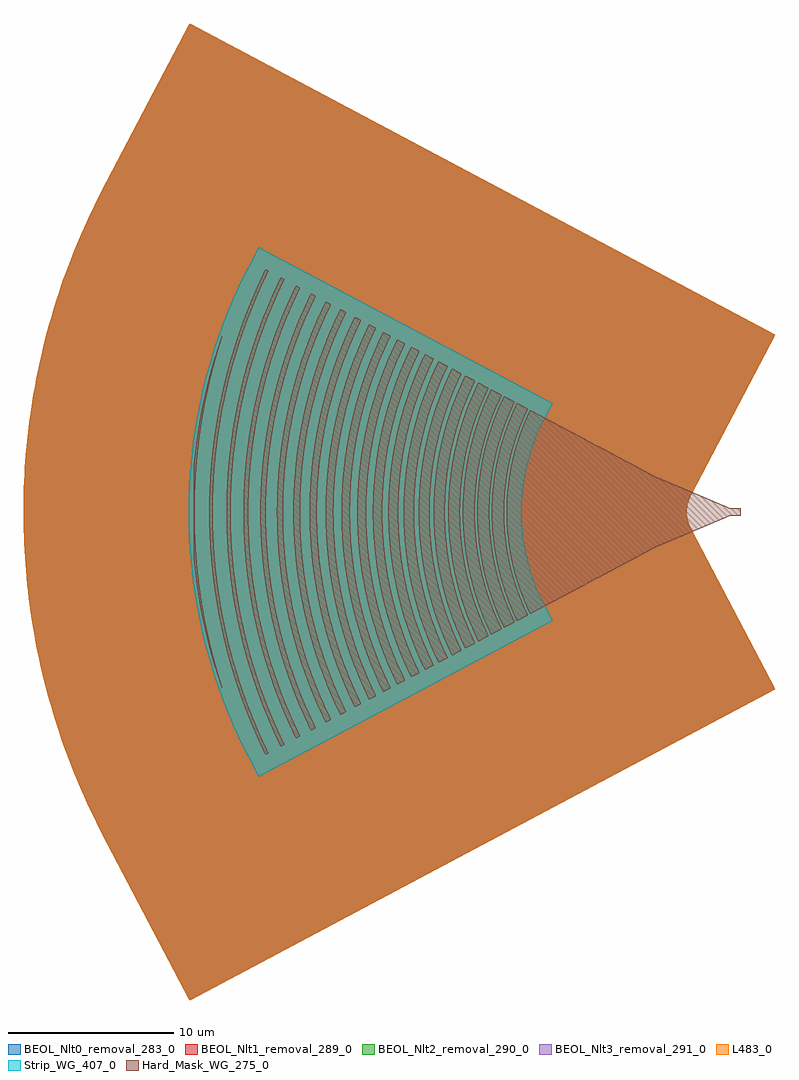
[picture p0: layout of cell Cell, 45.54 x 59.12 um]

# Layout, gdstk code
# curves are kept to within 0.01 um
import gdstk
lib = gdstk.Library(unit=1e-6, precision=1e-09)
def P(c, l, *ps):  # polygons
    for p in ps: c.add(gdstk.Polygon(p, *l))
Hard_Mask_WG_275_0 = (275, 0)
BEOL_Nlt0_removal_283_0 = (283, 0)
BEOL_Nlt1_removal_289_0 = (289, 0)
BEOL_Nlt2_removal_290_0 = (290, 0)
BEOL_Nlt3_removal_291_0 = (291, 0)
Strip_WG_407_0 = (407, 0)
L483_0 = (483, 0)

cell = lib.new_cell('Cell')
P(cell, Hard_Mask_WG_275_0, [(26.778,21.314),(26.731,21.34),(26.438,21.969),(26.222,22.478),(25.957,23.167),(25.621,24.185),(25.32,25.323),(25.084,26.521),(24.963,27.39),(24.871,28.438),(24.838,29.456),(24.842,29.995),(24.871,30.684),(24.963,31.732),(25.084,32.601),(25.32,33.799),(25.621,34.937),(25.957,35.955),(26.222,36.644),(26.438,37.153),(26.731,37.782),(26.778,37.808),(27.318,37.525),(27.343,37.482),(26.863,36.404),(26.565,35.625),(26.262,34.697),(26.028,33.829),(25.817,32.84),(25.667,31.882),(25.576,31.013),(25.518,29.756),(25.547,28.528),(25.608,27.757),(25.726,26.821),(25.938,25.683),(26.176,24.724),(26.533,23.586),(26.863,22.718),(27.343,21.64),(27.318,21.597)],
  [(16.518,15.86),(16.476,15.89),(16.359,16.129),(15.888,17.163),(15.485,18.136),(15.179,18.945),(14.879,19.813),(14.581,20.771),(14.34,21.64),(14.168,22.329),(13.987,23.137),(13.801,24.096),(13.687,24.784),(13.558,25.713),(13.443,26.791),(13.38,27.629),(13.346,28.288),(13.321,29.336),(13.325,30.115),(13.353,30.984),(13.411,31.942),(13.502,32.93),(13.625,33.918),(13.775,34.877),(13.896,35.536),(14.105,36.524),(14.34,37.482),(14.581,38.351),(14.879,39.309),(15.147,40.088),(15.485,40.986),(15.817,41.795),(16.359,42.993),(16.476,43.232),(16.518,43.262),(16.728,43.154),(16.743,43.112),(16.308,42.184),(15.909,41.256),(15.58,40.417),(15.258,39.519),(14.986,38.68),(14.715,37.752),(14.483,36.853),(14.298,36.045),(14.114,35.116),(13.996,34.427),(13.789,32.87),(13.668,31.433),(13.635,30.774),(13.613,29.726),(13.637,28.288),(13.698,27.25),(13.758,26.551),(13.848,25.743),(13.968,24.874),(14.087,24.155),(14.266,23.227),(14.483,22.269),(14.715,21.37),(14.986,20.442),(15.258,19.603),(15.58,18.705),(15.909,17.866),(16.308,16.938),(16.743,16.01),(16.728,15.968)],
  [(20.088,17.755),(20.058,17.763),(20.028,17.808),(19.571,18.795),(19.197,19.693),(18.903,20.472),(18.637,21.251),(18.423,21.939),(18.063,23.287),(17.76,24.724),(17.612,25.623),(17.523,26.282),(17.431,27.15),(17.369,27.989),(17.339,28.618),(17.326,29.366),(17.335,30.355),(17.369,31.133),(17.495,32.601),(17.702,34.068),(17.852,34.877),(18,35.565),(18.214,36.434),(18.423,37.183),(18.637,37.871),(18.903,38.65),(19.197,39.429),(19.571,40.327),(20.028,41.314),(20.058,41.359),(20.088,41.367),(20.412,41.196),(20.438,41.166),(20.435,41.136),(20.11,40.447),(19.784,39.698),(19.452,38.86),(19.152,38.021),(18.884,37.183),(18.679,36.464),(18.495,35.745),(18.314,34.937),(18.078,33.632),(17.899,32.241),(17.806,31.073),(17.766,29.786),(17.779,28.618),(17.868,27.206),(18.018,25.896),(18.225,24.635),(18.405,23.766),(18.615,22.898),(18.822,22.149),(19.092,21.28),(19.396,20.412),(19.698,19.633),(20.056,18.795),(20.435,17.986),(20.438,17.956),(20.412,17.926)],
  [(20.958,18.215),(20.928,18.217),(20.898,18.261),(20.43,19.274),(20.071,20.142),(19.834,20.771),(19.586,21.49),(19.352,22.239),(18.994,23.586),(18.847,24.245),(18.696,25.024),(18.574,25.773),(18.482,26.461),(18.359,27.749),(18.31,28.707),(18.297,29.306),(18.302,30.145),(18.333,30.954),(18.387,31.732),(18.454,32.421),(18.544,33.14),(18.665,33.918),(18.816,34.727),(18.959,35.386),(19.136,36.105),(19.352,36.883),(19.586,37.632),(19.834,38.351),(20.071,38.98),(20.43,39.848),(20.898,40.861),(20.928,40.905),(20.958,40.907),(21.312,40.716),(21.335,40.687),(21.331,40.657),(21.006,39.968),(20.682,39.219),(20.353,38.381),(20.088,37.632),(19.848,36.878),(19.604,36.015),(19.426,35.296),(19.248,34.464),(19.036,33.23),(18.888,32.005),(18.797,30.744),(18.77,29.606),(18.797,28.378),(18.888,27.117),(19.036,25.892),(19.218,24.813),(19.426,23.826),(19.604,23.107),(19.787,22.448),(20.058,21.58),(20.353,20.741),(20.682,19.903),(21.006,19.154),(21.331,18.465),(21.335,18.435),(21.312,18.406)],
  [(14.658,14.878),(14.628,14.909),(14.317,15.56),(13.892,16.519),(13.538,17.387),(13.201,18.286),(12.903,19.154),(12.632,20.023),(12.427,20.741),(12.152,21.82),(11.945,22.748),(11.766,23.676),(11.614,24.605),(11.492,25.503),(11.373,26.641),(11.307,27.54),(11.275,28.168),(11.247,29.306),(11.253,30.265),(11.28,31.073),(11.344,32.122),(11.434,33.11),(11.554,34.098),(11.704,35.086),(11.855,35.925),(12.089,37.033),(12.331,38.021),(12.597,38.98),(12.903,39.968),(13.201,40.836),(13.538,41.735),(13.892,42.603),(14.317,43.562),(14.587,44.131),(14.658,44.244),(14.808,44.175),(14.822,44.131),(14.411,43.262),(14.019,42.364),(13.693,41.555),(13.307,40.507),(13.036,39.698),(12.711,38.62),(12.47,37.722),(12.223,36.674),(12.045,35.805),(11.896,34.967),(11.777,34.188),(11.657,33.23),(11.567,32.301),(11.508,31.452),(11.475,30.744),(11.456,29.666),(11.479,28.258),(11.537,27.21),(11.628,26.162),(11.748,25.149),(11.867,24.335),(11.989,23.616),(12.197,22.568),(12.44,21.52),(12.711,20.502),(13.036,19.424),(13.307,18.615),(13.693,17.567),(14.019,16.758),(14.411,15.86),(14.822,14.991),(14.808,14.947)],
  [(30.708,23.404),(30.66,23.437),(30.546,23.676),(30.179,24.545),(29.907,25.323),(29.67,26.162),(29.494,26.971),(29.367,27.779),(29.285,28.618),(29.254,29.396),(29.281,30.444),(29.345,31.163),(29.467,32.002),(29.606,32.691),(29.79,33.409),(30.058,34.248),(30.36,35.026),(30.678,35.707),(30.708,35.718),(30.768,35.692),(38.332,31.672),(42.738,29.806),(42.828,29.786),(43.443,29.786),(43.443,29.336),(42.828,29.336),(42.738,29.316),(38.332,27.45)],
  [(25.158,20.452),(25.128,20.463),(25.098,20.511),(24.782,21.191),(24.505,21.849),(24.275,22.448),(23.888,23.616),(23.583,24.754),(23.346,25.892),(23.16,27.15),(23.067,28.168),(23.041,28.618),(23.021,29.486),(23.046,30.594),(23.099,31.373),(23.16,31.972),(23.346,33.23),(23.548,34.218),(23.703,34.847),(23.879,35.476),(24.275,36.674),(24.505,37.273),(24.782,37.931),(25.098,38.611),(25.128,38.659),(25.158,38.67),(25.652,38.411),(25.682,38.381),(25.679,38.351),(25.178,37.243),(24.798,36.253),(24.468,35.234),(24.168,34.091),(23.93,32.9),(23.778,31.822),(23.687,30.774),(23.652,29.666),(23.658,28.998),(23.687,28.348),(23.778,27.3),(23.93,26.222),(24.135,25.174),(24.438,23.991),(24.798,22.869),(25.178,21.879),(25.679,20.771),(25.682,20.741),(25.652,20.711)],
  [(29.898,22.979),(29.82,23.107),(29.55,23.706),(29.223,24.545),(28.953,25.383),(28.771,26.072),(28.596,26.911),(28.474,27.719),(28.385,28.707),(28.362,29.486),(28.376,30.235),(28.443,31.133),(28.565,32.032),(28.743,32.93),(28.953,33.739),(29.223,34.577),(29.55,35.416),(29.82,36.015),(29.898,36.143),(30.498,35.835),(30.538,35.805),(30.54,35.775),(30.226,35.086),(29.892,34.218),(29.655,33.469),(29.449,32.661),(29.298,31.882),(29.208,31.253),(29.145,30.594),(29.117,30.115),(29.109,29.606),(29.117,29.007),(29.178,28.144),(29.298,27.24),(29.449,26.461),(29.655,25.653),(29.892,24.904),(30.226,24.036),(30.54,23.347),(30.538,23.317),(30.498,23.287)],
  [(29.118,22.561),(29.077,22.598),(28.8,23.197),(28.408,24.185),(28.143,24.994),(27.903,25.892),(27.751,26.611),(27.601,27.569),(27.51,28.528),(27.477,29.456),(27.505,30.504),(27.576,31.343),(27.698,32.211),(27.875,33.11),(28.143,34.128),(28.408,34.937),(28.8,35.925),(29.077,36.524),(29.118,36.561),(29.718,36.249),(29.744,36.224),(29.744,36.194),(29.378,35.386),(29.089,34.637),(28.818,33.799),(28.635,33.11),(28.486,32.421),(28.338,31.493),(28.248,30.568),(28.215,29.666),(28.218,29.21),(28.246,28.588),(28.309,27.869),(28.427,27.03),(28.607,26.132),(28.818,25.323),(29.057,24.575),(29.378,23.736),(29.744,22.928),(29.744,22.898),(29.718,22.873)],
  [(28.338,22.147),(28.301,22.179),(28.036,22.748),(27.845,23.197),(27.604,23.826),(27.272,24.844),(27.059,25.653),(26.883,26.491),(26.734,27.45),(26.648,28.318),(26.604,29.366),(26.618,30.295),(26.706,31.433),(26.825,32.301),(27.031,33.349),(27.272,34.278),(27.604,35.296),(27.845,35.925),(28.036,36.374),(28.301,36.943),(28.338,36.975),(28.921,36.674),(28.957,36.644),(28.957,36.614),(28.539,35.685),(28.242,34.907),(27.978,34.086),(27.739,33.17),(27.558,32.261),(27.439,31.433),(27.348,30.329),(27.333,29.666),(27.348,28.793),(27.439,27.689),(27.558,26.861),(27.739,25.952),(27.978,25.036),(28.242,24.215),(28.539,23.437),(28.957,22.508),(28.957,22.478),(28.921,22.448)],
  [(12.018,18.928),(11.988,18.969),(11.763,19.633),(11.399,20.831),(11.129,21.849),(10.863,23.017),(10.684,23.946),(10.507,25.054),(10.386,26.012),(10.293,26.981),(10.293,32.141),(10.357,32.84),(10.47,33.799),(10.593,34.637),(10.744,35.506),(10.947,36.494),(11.129,37.273),(11.374,38.201),(11.611,39.009),(11.898,39.891),(11.988,40.153),(12.018,40.194),(12.018,40.14),(11.565,38.62),(11.268,37.449),(10.998,36.196),(10.756,34.817),(10.579,33.499),(10.458,32.244),(10.368,30.594),(10.356,29.726),(10.368,28.528),(10.458,26.878),(10.579,25.623),(10.756,24.305),(10.998,22.926),(11.268,21.673),(11.565,20.502),(12.018,18.982)],
  [(27.558,21.731),(27.52,21.76),(27.255,22.329),(26.851,23.317),(26.496,24.365),(26.226,25.353),(26.016,26.342),(25.86,27.36),(25.764,28.378),(25.727,29.456),(25.746,30.444),(25.835,31.553),(25.984,32.601),(26.163,33.499),(26.399,34.427),(26.58,35.026),(26.763,35.565),(26.978,36.135),(27.216,36.704),(27.52,37.362),(27.558,37.391),(28.132,37.093),(28.157,37.063),(28.153,37.033),(27.768,36.186),(27.411,35.266),(27.138,34.427),(26.898,33.53),(26.714,32.661),(26.568,31.72),(26.478,30.834),(26.447,30.325),(26.434,29.726),(26.447,28.797),(26.537,27.659),(26.657,26.791),(26.838,25.853),(27.077,24.904),(27.411,23.856),(27.768,22.936),(28.153,22.089),(28.157,22.059),(28.132,22.029)],
  [(21.798,18.67),(21.761,18.705),(21.702,18.825),(21.24,19.843),(20.97,20.502),(20.7,21.221),(20.28,22.508),(19.95,23.736),(19.681,24.994),(19.535,25.862),(19.441,26.551),(19.313,27.929),(19.273,28.737),(19.259,29.396),(19.265,30.145),(19.291,30.834),(19.346,31.642),(19.413,32.331),(19.504,33.05),(19.622,33.799),(19.887,35.116),(20.071,35.865),(20.28,36.614),(20.7,37.901),(20.97,38.62),(21.24,39.279),(21.702,40.297),(21.761,40.417),(21.798,40.452),(22.188,40.253),(22.222,40.207),(21.668,38.98),(21.167,37.692),(20.924,36.973),(20.714,36.284),(20.388,35.026),(20.117,33.679),(19.938,32.451),(19.815,31.103),(19.786,30.564),(19.768,29.666),(19.788,28.498),(19.848,27.565),(19.911,26.911),(19.996,26.222),(20.117,25.443),(20.388,24.096),(20.714,22.838),(20.924,22.149),(21.167,21.43),(21.668,20.142),(22.222,18.915),(22.188,18.869)],
  [(17.418,16.341),(17.384,16.369),(17.296,16.549),(16.869,17.477),(16.54,18.256),(16.17,19.214),(15.907,19.963),(15.666,20.711),(15.397,21.64),(15.153,22.598),(15.004,23.257),(14.821,24.185),(14.677,25.054),(14.555,25.952),(14.458,26.881),(14.399,27.659),(14.352,28.707),(14.339,29.456),(14.344,30.145),(14.377,31.073),(14.433,31.942),(14.524,32.9),(14.642,33.829),(14.769,34.637),(14.912,35.416),(15.09,36.254),(15.48,37.782),(15.75,38.68),(16.02,39.489),(16.35,40.387),(16.714,41.285),(17.168,42.304),(17.384,42.753),(17.418,42.781),(17.658,42.662),(17.684,42.633),(17.682,42.603),(17.287,41.765),(16.908,40.887),(16.603,40.118),(16.248,39.13),(15.949,38.201),(15.708,37.362),(15.465,36.404),(15.286,35.595),(15.016,34.098),(14.837,32.72),(14.717,31.253),(14.688,30.636),(14.672,29.726),(14.69,28.438),(14.748,27.39),(14.808,26.687),(14.898,25.876),(15.016,25.024),(15.286,23.527),(15.465,22.718),(15.708,21.76),(15.949,20.921),(16.248,19.992),(16.603,19.004),(16.908,18.235),(17.287,17.357),(17.682,16.519),(17.684,16.489),(17.658,16.46)],
  [(22.638,19.122),(22.48,19.424),(22.116,20.232),(21.811,20.981),(21.599,21.55),(21.215,22.718),(20.853,24.066),(20.58,25.383),(20.459,26.132),(20.373,26.791),(20.252,28.168),(20.213,29.396),(20.219,30.175),(20.246,30.834),(20.346,32.092),(20.519,33.379),(20.641,34.068),(20.791,34.787),(20.972,35.536),(21.153,36.194),(21.394,36.973),(21.599,37.572),(21.811,38.141),(22.116,38.89),(22.48,39.698),(22.638,40),(22.669,39.998),(23.058,39.791),(23.1,39.758),(23.1,39.728),(22.555,38.53),(22.244,37.752),(22.038,37.183),(21.649,35.955),(21.347,34.787),(21.193,34.068),(21.078,33.441),(20.9,32.181),(20.837,31.553),(20.777,30.654),(20.753,29.666),(20.777,28.468),(20.837,27.569),(20.9,26.941),(21.078,25.681),(21.193,25.054),(21.347,24.335),(21.649,23.167),(22.038,21.939),(22.244,21.37),(22.555,20.592),(23.1,19.394),(23.1,19.364),(23.058,19.331),(22.669,19.124)],
  [(15.588,15.371),(15.553,15.411),(15.394,15.74),(14.945,16.728),(14.524,17.747),(14.251,18.465),(14.008,19.154),(13.69,20.142),(13.414,21.101),(13.17,22.059),(12.963,22.987),(12.812,23.766),(12.666,24.635),(12.541,25.533),(12.424,26.611),(12.357,27.48),(12.309,28.438),(12.292,29.306),(12.297,30.265),(12.332,31.223),(12.393,32.151),(12.481,33.08),(12.694,34.667),(12.845,35.536),(13.08,36.674),(13.265,37.452),(13.505,38.351),(13.801,39.339),(14.101,40.237),(14.431,41.136),(14.855,42.184),(15.394,43.382),(15.553,43.711),(15.588,43.751),(15.768,43.666),(15.789,43.621),(15.381,42.753),(14.978,41.825),(14.655,41.016),(14.326,40.118),(14.056,39.309),(13.758,38.321),(13.487,37.302),(13.245,36.254),(13.095,35.506),(12.948,34.663),(12.74,33.14),(12.647,32.181),(12.586,31.283),(12.556,30.594),(12.543,29.756),(12.556,28.528),(12.586,27.839),(12.708,26.281),(12.915,24.665),(13.067,23.766),(13.245,22.868),(13.487,21.82),(13.758,20.801),(14.056,19.813),(14.326,19.004),(14.655,18.106),(14.978,17.297),(15.381,16.369),(15.789,15.501),(15.768,15.456)],
  [(19.188,17.289),(18.903,17.866),(18.545,18.675),(18.276,19.334),(17.972,20.142),(17.706,20.921),(17.492,21.61),(17.281,22.359),(17.044,23.317),(16.86,24.185),(16.714,24.994),(16.597,25.773),(16.505,26.521),(16.441,27.18),(16.379,28.079),(16.347,28.917),(16.342,29.786),(16.382,31.103),(16.441,31.942),(16.532,32.84),(16.653,33.739),(16.776,34.487),(16.927,35.266),(17.1,36.045),(17.281,36.763),(17.492,37.512),(17.765,38.381),(18.004,39.069),(18.335,39.938),(18.635,40.657),(19.145,41.765),(19.179,41.825),(19.218,41.833),(19.509,41.675),(19.532,41.645),(19.527,41.615),(19.093,40.687),(18.824,40.058),(18.493,39.219),(18.194,38.381),(17.925,37.542),(17.718,36.823),(17.503,35.985),(17.298,35.058),(17.058,33.709),(16.909,32.571),(16.787,31.103),(16.747,29.756),(16.758,28.67),(16.847,27.18),(16.998,25.83),(17.238,24.365),(17.448,23.372),(17.654,22.538),(17.925,21.58),(18.194,20.741),(18.493,19.903),(18.824,19.064),(19.093,18.435),(19.527,17.507),(19.532,17.477),(19.488,17.433),(19.218,17.289)],
  [(24.318,20.013),(24.284,20.053),(24.183,20.262),(23.858,20.981),(23.406,22.119),(23.188,22.748),(22.982,23.407),(22.68,24.545),(22.416,25.833),(22.232,27.12),(22.138,28.198),(22.109,28.767),(22.098,29.456),(22.117,30.534),(22.173,31.403),(22.232,32.002),(22.411,33.26),(22.652,34.457),(22.982,35.715),(23.188,36.374),(23.406,37.003),(23.858,38.141),(24.183,38.86),(24.284,39.069),(24.318,39.109),(24.798,38.866),(24.833,38.83),(24.312,37.662),(23.93,36.674),(23.567,35.565),(23.264,34.427),(23.028,33.29),(22.848,32.092),(22.755,31.133),(22.697,29.786),(22.698,29.247),(22.726,28.438),(22.818,27.297),(22.907,26.581),(22.996,26.012),(23.209,24.934),(23.506,23.766),(23.866,22.628),(24.312,21.46),(24.833,20.292),(24.798,20.256)],
  [(18.318,16.818),(18.278,16.848),(17.791,17.896),(17.462,18.675),(17.104,19.603),(16.832,20.382),(16.531,21.34),(16.321,22.089),(16.111,22.928),(15.934,23.736),(15.786,24.515),(15.664,25.264),(15.548,26.132),(15.453,27.06),(15.391,27.929),(15.359,28.648),(15.348,29.456),(15.356,30.355),(15.391,31.193),(15.453,32.062),(15.541,32.93),(15.664,33.858),(15.786,34.607),(15.934,35.386),(16.111,36.194),(16.321,37.033),(16.531,37.782),(16.832,38.74),(17.104,39.519),(17.462,40.447),(17.791,41.226),(18.278,42.274),(18.318,42.304),(18.588,42.167),(18.613,42.124),(18.197,41.226),(17.875,40.477),(17.568,39.702),(17.233,38.77),(16.962,37.931),(16.728,37.123),(16.488,36.182),(16.28,35.236),(16.037,33.858),(15.859,32.451),(15.798,31.763),(15.738,30.774),(15.715,29.666),(15.738,28.348),(15.798,27.359),(15.856,26.701),(16.037,25.264),(16.28,23.886),(16.488,22.94),(16.728,21.999),(16.962,21.191),(17.233,20.352),(17.568,19.42),(17.875,18.645),(18.197,17.896),(18.613,16.998),(18.588,16.955)],
  [(23.478,19.57),(23.224,20.083),(22.934,20.741),(22.469,21.939),(22.054,23.227),(21.722,24.515),(21.484,25.713),(21.301,27),(21.239,27.629),(21.188,28.378),(21.158,29.726),(21.206,31.043),(21.244,31.553),(21.333,32.391),(21.51,33.559),(21.631,34.188),(21.785,34.877),(21.929,35.446),(22.143,36.194),(22.355,36.853),(22.589,37.512),(22.859,38.201),(23.129,38.83),(23.452,39.519),(23.478,39.552),(23.508,39.552),(23.928,39.328),(23.971,39.279),(23.446,38.111),(23.205,37.512),(22.963,36.853),(22.608,35.74),(22.304,34.577),(22.066,33.409),(21.885,32.181),(21.766,30.834),(21.732,29.786),(21.738,28.917),(21.766,28.288),(21.858,27.179),(22.035,25.892),(22.25,24.784),(22.575,23.497),(22.963,22.269),(23.205,21.61),(23.446,21.011),(23.971,19.843),(23.954,19.813),(23.898,19.777),(23.508,19.57)],
  [(25.968,20.886),(25.925,20.921),(25.618,21.58),(25.389,22.119),(25.113,22.838),(24.812,23.736),(24.484,24.934),(24.24,26.102),(24.087,27.12),(23.977,28.288),(23.937,29.366),(23.941,30.025),(23.968,30.684),(24.062,31.792),(24.214,32.87),(24.421,33.918),(24.722,35.086),(25.113,36.284),(25.389,37.003),(25.618,37.542),(25.925,38.201),(25.968,38.236),(26.478,37.973),(26.52,37.931),(26.054,36.883),(25.698,35.961),(25.365,34.937),(25.096,33.918),(24.888,32.907),(24.734,31.882),(24.678,31.367),(24.618,30.552),(24.594,29.696),(24.617,28.588),(24.706,27.48),(24.858,26.388),(25.068,25.326),(25.338,24.278),(25.664,23.257),(26.054,22.239),(26.52,21.191),(26.478,21.149)])
P(cell, BEOL_Nlt0_removal_283_0, [(10.101,0),(10.033,0.021),(4.772,10.044),(4.388,10.799),(3.85,11.928),(3.331,13.105),(2.731,14.608),(2.29,15.828),(1.915,16.978),(1.662,17.821),(1.227,19.443),(0.868,21.034),(0.56,22.696),(0.324,24.332),(0.152,25.979),(0.04,27.689),(0,29.308),(0.003,30.133),(0.04,31.433),(0.144,33.052),(0.316,34.724),(0.56,36.426),(0.856,38.027),(1.227,39.679),(1.662,41.301),(2.011,42.448),(2.29,43.294),(2.845,44.812),(3.331,46.017),(3.815,47.116),(4.351,48.247),(4.74,49.016),(10.033,59.101),(10.101,59.122),(45.541,40.294),(40.372,30.458),(40.275,30.211),(40.23,30.048),(40.19,29.827),(40.174,29.573),(40.185,29.337),(40.222,29.109),(40.295,28.852),(40.371,28.666),(45.541,18.828)])
P(cell, BEOL_Nlt1_removal_289_0, [(10.101,0),(10.033,0.021),(4.772,10.044),(4.388,10.799),(3.85,11.928),(3.331,13.105),(2.731,14.608),(2.29,15.828),(1.915,16.978),(1.662,17.821),(1.227,19.443),(0.868,21.034),(0.56,22.696),(0.324,24.332),(0.152,25.979),(0.04,27.689),(0,29.308),(0.003,30.133),(0.04,31.433),(0.144,33.052),(0.316,34.724),(0.56,36.426),(0.856,38.027),(1.227,39.679),(1.662,41.301),(2.011,42.448),(2.29,43.294),(2.845,44.812),(3.331,46.017),(3.815,47.116),(4.351,48.247),(4.74,49.016),(10.033,59.101),(10.101,59.122),(45.541,40.294),(40.372,30.458),(40.275,30.211),(40.23,30.048),(40.19,29.827),(40.174,29.573),(40.185,29.337),(40.222,29.109),(40.295,28.852),(40.371,28.666),(45.541,18.828)])
P(cell, BEOL_Nlt2_removal_290_0, [(10.101,0),(10.033,0.021),(4.772,10.044),(4.388,10.799),(3.85,11.928),(3.331,13.105),(2.731,14.608),(2.29,15.828),(1.915,16.978),(1.662,17.821),(1.227,19.443),(0.868,21.034),(0.56,22.696),(0.324,24.332),(0.152,25.979),(0.04,27.689),(0,29.308),(0.003,30.133),(0.04,31.433),(0.144,33.052),(0.316,34.724),(0.56,36.426),(0.856,38.027),(1.227,39.679),(1.662,41.301),(2.011,42.448),(2.29,43.294),(2.845,44.812),(3.331,46.017),(3.815,47.116),(4.351,48.247),(4.74,49.016),(10.033,59.101),(10.101,59.122),(45.541,40.294),(40.372,30.458),(40.275,30.211),(40.23,30.048),(40.19,29.827),(40.174,29.573),(40.185,29.337),(40.222,29.109),(40.295,28.852),(40.371,28.666),(45.541,18.828)])
P(cell, BEOL_Nlt3_removal_291_0, [(10.101,0),(10.033,0.021),(4.772,10.044),(4.388,10.799),(3.85,11.928),(3.331,13.105),(2.731,14.608),(2.29,15.828),(1.915,16.978),(1.662,17.821),(1.227,19.443),(0.868,21.034),(0.56,22.696),(0.324,24.332),(0.152,25.979),(0.04,27.689),(0,29.308),(0.003,30.133),(0.04,31.433),(0.144,33.052),(0.316,34.724),(0.56,36.426),(0.856,38.027),(1.227,39.679),(1.662,41.301),(2.011,42.448),(2.29,43.294),(2.845,44.812),(3.331,46.017),(3.815,47.116),(4.351,48.247),(4.74,49.016),(10.033,59.101),(10.101,59.122),(45.541,40.294),(40.372,30.458),(40.275,30.211),(40.23,30.048),(40.19,29.827),(40.174,29.573),(40.185,29.337),(40.222,29.109),(40.295,28.852),(40.371,28.666),(45.541,18.828)])
P(cell, Strip_WG_407_0, [(14.24,13.523),(13.481,14.974),(13.199,15.546),(12.797,16.413),(12.421,17.292),(12.071,18.181),(11.645,19.382),(11.358,20.294),(11.097,21.213),(10.792,22.451),(10.595,23.386),(10.426,24.327),(10.285,25.272),(10.141,26.538),(10.066,27.491),(10.019,28.446),(10,29.402),(10.009,30.358),(10.047,31.313),(10.141,32.584),(10.245,33.534),(10.426,34.795),(10.595,35.736),(10.792,36.671),(11.016,37.6),(11.268,38.523),(11.645,39.74),(11.96,40.642),(12.301,41.535),(12.669,42.417),(13.062,43.289),(13.481,44.148),(14.24,45.599),(32.056,36.134),(31.535,35.143),(31.224,34.496),(30.951,33.833),(30.683,33.04),(30.445,32.113),(30.297,31.289),(30.198,30.338),(30.174,29.621),(30.198,28.784),(30.281,27.951),(30.397,27.243),(30.617,26.312),(30.869,25.514),(31.176,24.735),(31.427,24.193),(32.056,22.988)])
P(cell, L483_0, [(10.101,0),(10.033,0.021),(4.772,10.044),(4.388,10.799),(3.85,11.928),(3.331,13.105),(2.731,14.608),(2.29,15.828),(1.915,16.978),(1.662,17.821),(1.227,19.443),(0.868,21.034),(0.56,22.696),(0.324,24.332),(0.152,25.979),(0.04,27.689),(0,29.308),(0.003,30.133),(0.04,31.433),(0.144,33.052),(0.316,34.724),(0.56,36.426),(0.856,38.027),(1.227,39.679),(1.662,41.301),(2.011,42.448),(2.29,43.294),(2.845,44.812),(3.331,46.017),(3.815,47.116),(4.351,48.247),(4.74,49.016),(10.033,59.101),(10.101,59.122),(45.541,40.294),(40.372,30.458),(40.275,30.211),(40.23,30.048),(40.19,29.827),(40.174,29.573),(40.185,29.337),(40.222,29.109),(40.295,28.852),(40.371,28.666),(45.541,18.828)])

lib.write_gds('Cell.gds')
